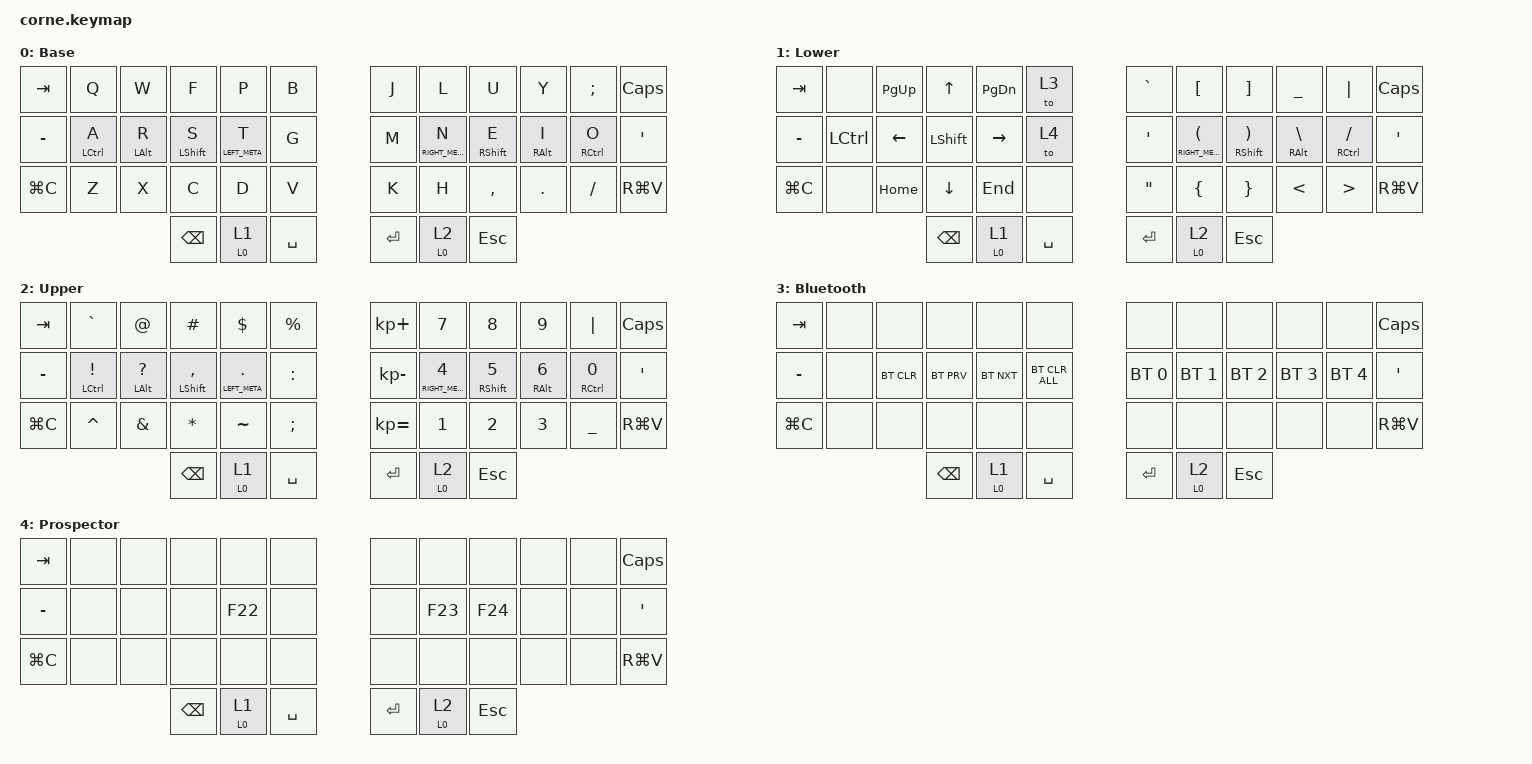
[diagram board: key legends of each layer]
/*
 * Copyright (c) 2020 The ZMK Contributors
 *
 * SPDX-License-Identifier: MIT
 */

#include <behaviors.dtsi>
#include <dt-bindings/zmk/bt.h>
#include <dt-bindings/zmk/keys.h>

/ {
    combos {
        compatible = "zmk,combos";

        reset_layer {
            bindings = <&to 0>;
            key-positions = <37 40>;
        };
    };

    behaviors {
        ll: ll {
            compatible = "zmk,behavior-hold-tap";
            label = "LL";
            bindings = <&to>, <&to>;

            #binding-cells = <2>;
            tapping-term-ms = <200>;
            flavor = "tap-preferred";
            quick-tap-ms = <175>;
            require-prior-idle-ms = <0>;
        };

        ht_l: ht_l {
            compatible = "zmk,behavior-hold-tap";
            label = "HT_L";
            bindings = <&kp>, <&kp>;

            #binding-cells = <2>;
            tapping-term-ms = <280>;
            quick-tap-ms = <175>;
            require-prior-idle-ms = <0>;
            flavor = "balanced";
            hold-trigger-on-release;
            hold-trigger-key-positions = <6 7 8 9 10 11 18 19 20 21 22 23 30 31 32 33 34 35 39 40 41>;
        };

        ht_r: ht_r {
            compatible = "zmk,behavior-hold-tap";
            label = "HT_R";
            bindings = <&kp>, <&kp>;

            #binding-cells = <2>;
            tapping-term-ms = <280>;
            quick-tap-ms = <175>;
            require-prior-idle-ms = <0>;
            flavor = "balanced";
            hold-trigger-on-release;
            hold-trigger-key-positions = <0 1 2 3 4 5 12 13 14 15 16 17 24 25 26 27 28 29 36 37 38>;
        };

        // Shift-only HRMs: hold-preferred so fast shift-rolls (S released before I) still shift.
        // One variant per require-prior-idle-ms so the value can be swapped live in ZMK Studio.
        hs_l_125: hs_l_125 {
            compatible = "zmk,behavior-hold-tap";
            display-name = "Shift L 125";
            bindings = <&kp>, <&kp>;
            #binding-cells = <2>;
            tapping-term-ms = <200>;
            quick-tap-ms = <175>;
            require-prior-idle-ms = <125>;
            flavor = "hold-preferred";
            hold-trigger-key-positions = <6 7 8 9 10 11 18 19 20 21 22 23 30 31 32 33 34 35 39 40 41>;
        };

        hs_l_150: hs_l_150 {
            compatible = "zmk,behavior-hold-tap";
            display-name = "Shift L 150";
            bindings = <&kp>, <&kp>;
            #binding-cells = <2>;
            tapping-term-ms = <200>;
            quick-tap-ms = <175>;
            require-prior-idle-ms = <150>;
            flavor = "hold-preferred";
            hold-trigger-key-positions = <6 7 8 9 10 11 18 19 20 21 22 23 30 31 32 33 34 35 39 40 41>;
        };

        hs_l_175: hs_l_175 {
            compatible = "zmk,behavior-hold-tap";
            display-name = "Shift L 175";
            bindings = <&kp>, <&kp>;
            #binding-cells = <2>;
            tapping-term-ms = <200>;
            quick-tap-ms = <175>;
            require-prior-idle-ms = <175>;
            flavor = "hold-preferred";
            hold-trigger-key-positions = <6 7 8 9 10 11 18 19 20 21 22 23 30 31 32 33 34 35 39 40 41>;
        };

        hs_l_200: hs_l_200 {
            compatible = "zmk,behavior-hold-tap";
            display-name = "Shift L 200";
            bindings = <&kp>, <&kp>;
            #binding-cells = <2>;
            tapping-term-ms = <200>;
            quick-tap-ms = <175>;
            require-prior-idle-ms = <200>;
            flavor = "hold-preferred";
            hold-trigger-key-positions = <6 7 8 9 10 11 18 19 20 21 22 23 30 31 32 33 34 35 39 40 41>;
        };

        hs_r_125: hs_r_125 {
            compatible = "zmk,behavior-hold-tap";
            display-name = "Shift R 125";
            bindings = <&kp>, <&kp>;
            #binding-cells = <2>;
            tapping-term-ms = <200>;
            quick-tap-ms = <175>;
            require-prior-idle-ms = <125>;
            flavor = "hold-preferred";
            hold-trigger-key-positions = <0 1 2 3 4 5 12 13 14 15 16 17 24 25 26 27 28 29 36 37 38>;
        };

        hs_r_150: hs_r_150 {
            compatible = "zmk,behavior-hold-tap";
            display-name = "Shift R 150";
            bindings = <&kp>, <&kp>;
            #binding-cells = <2>;
            tapping-term-ms = <200>;
            quick-tap-ms = <175>;
            require-prior-idle-ms = <150>;
            flavor = "hold-preferred";
            hold-trigger-key-positions = <0 1 2 3 4 5 12 13 14 15 16 17 24 25 26 27 28 29 36 37 38>;
        };

        hs_r_175: hs_r_175 {
            compatible = "zmk,behavior-hold-tap";
            display-name = "Shift R 175";
            bindings = <&kp>, <&kp>;
            #binding-cells = <2>;
            tapping-term-ms = <200>;
            quick-tap-ms = <175>;
            require-prior-idle-ms = <175>;
            flavor = "hold-preferred";
            hold-trigger-key-positions = <0 1 2 3 4 5 12 13 14 15 16 17 24 25 26 27 28 29 36 37 38>;
        };

        hs_r_200: hs_r_200 {
            compatible = "zmk,behavior-hold-tap";
            display-name = "Shift R 200";
            bindings = <&kp>, <&kp>;
            #binding-cells = <2>;
            tapping-term-ms = <200>;
            quick-tap-ms = <175>;
            require-prior-idle-ms = <200>;
            flavor = "hold-preferred";
            hold-trigger-key-positions = <0 1 2 3 4 5 12 13 14 15 16 17 24 25 26 27 28 29 36 37 38>;
        };
    };

    keymap {
        compatible = "zmk,keymap";

        base_layer {
            // -----------------------------------------------------------------------------------------
            // |  TAB  |  Q  |  W  |  F  |  P  |  B  |   |  J  |  L  |  U  |  Y  |  ;  | CAPS |
            // | MINUS |  A  |  R  |  S  |  T  |  G  |   |  M  |  N  |  E  |  I  |  O  |  '   |
            // | LG(C) |  Z  |  X  |  C  |  D  |  V  |   |  K  |  H  |  ,  |  .  |  /  | RG(V)|
            //                     | BKSP | LWR | SPC |   | ENT | RSE | ESC |

            display-name = "Base";
            bindings = <
&kp TAB    &kp Q                 &kp W             &kp F               &kp P              &kp B        &kp J    &kp L               &kp U                &kp Y              &kp SEMICOLON          &kp CAPSLOCK
&kp MINUS  &ht_l LEFT_CONTROL A  &ht_l LEFT_ALT R  &hs_l_175 LEFT_SHIFT S  &ht_l LEFT_META T  &kp G        &kp M    &ht_r RIGHT_META N  &hs_r_175 RIGHT_SHIFT E  &ht_r RIGHT_ALT I  &ht_r RIGHT_CONTROL O  &kp SINGLE_QUOTE
&kp LG(C)  &kp Z                 &kp X             &kp C               &kp D              &kp V        &kp K    &kp H               &kp COMMA            &kp DOT            &kp FSLH               &kp RG(V)
                                                   &kp BACKSPACE       &ll 0 1            &kp SPACE    &kp RET  &ll 0 2             &kp ESCAPE
            >;
        };

        lower_layer {
            // -----------------------------------------------------------------------------------------
            // |  TAB |  1  |  2  |  3  |  4  |  5  |   |  6  |  7  |  8  |  9  |  0  | BKSP |
            // | BTCLR| BT1 | BT2 | BT3 | BT4 | BT5 |   | LFT | DWN |  UP | RGT |     |      |
            // | SHFT |     |     |     |     |     |   |     |     |     |     |     |      |
            //                    | GUI |     | SPC |   | ENT |     | ALT |

            display-name = "Lower";
            bindings = <
&kp TAB    &none             &kp PAGE_UP     &kp UP_ARROW    &kp PAGE_DOWN    &to 3        &kp GRAVE          &kp LEFT_BRACKET                   &kp RIGHT_BRACKET                    &kp UNDERSCORE             &kp PIPE                   &kp CAPSLOCK
&kp MINUS  &kp LEFT_CONTROL  &kp LEFT_ARROW  &kp LEFT_SHIFT  &kp RIGHT_ARROW  &to 4        &kp SINGLE_QUOTE   &ht_r RIGHT_META LEFT_PARENTHESIS  &ht_r RIGHT_SHIFT RIGHT_PARENTHESIS  &ht_r RIGHT_ALT BACKSLASH  &ht_r RIGHT_CONTROL SLASH  &kp SINGLE_QUOTE
&kp LG(C)  &none             &kp HOME        &kp DOWN_ARROW  &kp END          &none        &kp DOUBLE_QUOTES  &kp LEFT_BRACE                     &kp RIGHT_BRACE                      &kp LESS_THAN              &kp GREATER_THAN           &kp RG(V)
                                             &kp BACKSPACE   &ll 0 1          &kp SPACE    &kp RET            &ll 0 2                            &kp ESCAPE
            >;
        };

        upper_layer {
            // -----------------------------------------------------------------------------------------
            // |  TAB |  !  |  @  |  #  |  $  |  %  |   |  ^  |  &  |  *  |  (  |  )  | BKSP |
            // | CTRL |     |     |     |     |     |   |  -  |  =  |  [  |  ]  |  \  |  `   |
            // | SHFT |     |     |     |     |     |   |  _  |  +  |  {  |  }  | "|" |  ~   |
            //                    | GUI |     | SPC |   | ENT |     | ALT |

            display-name = "Upper";
            bindings = <
&kp TAB    &kp GRAVE                       &kp AT_SIGN              &kp HASH                &kp DOLLAR              &kp PERCENT      &kp KP_PLUS   &kp NUMBER_7               &kp NUMBER_8                &kp NUMBER_9              &kp PIPE                      &kp CAPSLOCK
&kp MINUS  &ht_l LEFT_CONTROL EXCLAMATION  &ht_l LEFT_ALT QUESTION  &ht_l LEFT_SHIFT COMMA  &ht_l LEFT_META PERIOD  &kp COLON        &kp KP_MINUS  &ht_r RIGHT_META NUMBER_4  &ht_r RIGHT_SHIFT NUMBER_5  &ht_r RIGHT_ALT NUMBER_6  &ht_r RIGHT_CONTROL NUMBER_0  &kp SINGLE_QUOTE
&kp LG(C)  &kp CARET                       &kp AMPERSAND            &kp ASTERISK            &kp TILDE               &kp SEMICOLON    &kp KP_EQUAL  &kp NUMBER_1               &kp NUMBER_2                &kp NUMBER_3              &kp UNDERSCORE                &kp RG(V)
                                                                    &kp BACKSPACE           &ll 0 1                 &kp SPACE        &kp RET       &ll 0 2                    &kp ESCAPE
            >;
        };

        bluetooth_layer {
            display-name = "Bluetooth";
            bindings = <
&kp TAB    &none  &none       &none          &none       &none             &none         &none         &none         &none         &none         &kp CAPSLOCK
&kp MINUS  &none  &bt BT_CLR  &bt BT_PRV     &bt BT_NXT  &bt BT_CLR_ALL    &bt BT_SEL 0  &bt BT_SEL 1  &bt BT_SEL 2  &bt BT_SEL 3  &bt BT_SEL 4  &kp SINGLE_QUOTE
&kp LG(C)  &none  &none       &none          &none       &none             &none         &none         &none         &none         &none         &kp RG(V)
                              &kp BACKSPACE  &ll 0 1     &kp SPACE         &kp RET       &ll 0 2       &kp ESCAPE
            >;
        };

        prospector_layer {
            display-name = "Prospector";
            bindings = <
&kp TAB    &none  &none  &none          &none    &none        &none    &none    &none       &none  &none  &kp CAPSLOCK
&kp MINUS  &none  &none  &none          &kp F22  &none        &none    &kp F23  &kp F24     &none  &none  &kp SINGLE_QUOTE
&kp LG(C)  &none  &none  &none          &none    &none        &none    &none    &none       &none  &none  &kp RG(V)
                         &kp BACKSPACE  &ll 0 1  &kp SPACE    &kp RET  &ll 0 2  &kp ESCAPE
            >;
        };
    };
};
